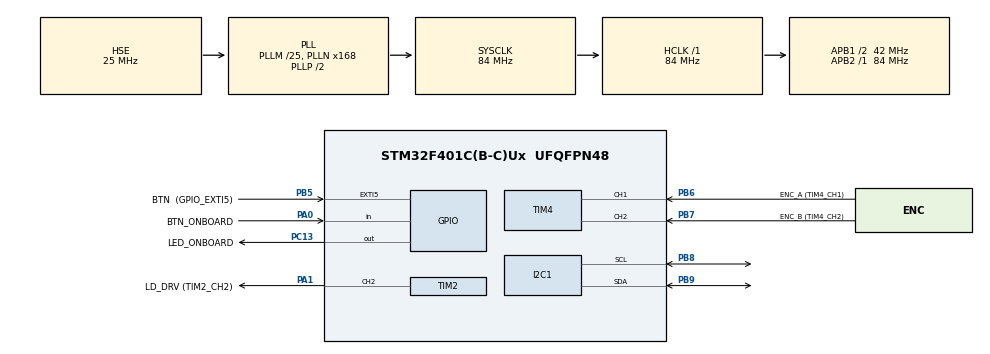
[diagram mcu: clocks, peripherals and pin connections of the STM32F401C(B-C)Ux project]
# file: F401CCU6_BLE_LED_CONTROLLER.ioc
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Dma.Request0=TIM2_CH2/CH4
Dma.TIM2_CH2/CH4.0.Direction=DMA_MEMORY_TO_PERIPH
Dma.TIM2_CH2/CH4.0.FIFOMode=DMA_FIFOMODE_DISABLE
Dma.TIM2_CH2/CH4.0.Instance=DMA1_Stream6
Dma.TIM2_CH2/CH4.0.MemDataAlignment=DMA_MDATAALIGN_WORD
Dma.TIM2_CH2/CH4.0.MemInc=DMA_MINC_ENABLE
Dma.TIM2_CH2/CH4.0.Mode=DMA_CIRCULAR
Dma.TIM2_CH2/CH4.0.PeriphDataAlignment=DMA_PDATAALIGN_WORD
Dma.TIM2_CH2/CH4.0.PeriphInc=DMA_PINC_DISABLE
Dma.TIM2_CH2/CH4.0.Priority=DMA_PRIORITY_LOW
FREERTOS.Tasks01=defaultTask,24,128,StartDefaultTask,Default,NULL,Dynamic,NULL,NULL
FREERTOS.configUSE_NEWLIB_REENTRANT=1
Mcu.Family=STM32F4
Mcu.Name=STM32F401C(B-C)Ux
Mcu.Package=UFQFPN48
NVIC.DMA1_Stream6_IRQn=true\:5\:0\:false\:false\:true\:true\:false\:true\:true
NVIC.EXTI9_5_IRQn=true\:5\:0\:false\:false\:true\:true\:true\:true\:true
NVIC.PriorityGroup=NVIC_PRIORITYGROUP_4
NVIC.TIM1_TRG_COM_TIM11_IRQn=true\:5\:0\:false\:false\:true\:true\:true\:true\:true
NVIC.TIM1_UP_TIM10_IRQn=true\:5\:0\:false\:false\:true\:false\:false\:true\:true
NVIC.TIM4_IRQn=true\:5\:0\:false\:false\:true\:true\:true\:true\:true
NVIC.TimeBase=TIM1_UP_TIM10_IRQn
NVIC.TimeBaseIP=TIM10
PA0-WKUP.GPIO_Label=BTN_ONBOARD
PA0-WKUP.Signal=GPIO_Input
PA1.GPIO_Label=LD_DRV (TIM2_CH2)
PA1.GPIO_ModeDefaultPP=GPIO_MODE_AF_OD
PA1.GPIO_Speed=GPIO_SPEED_FREQ_VERY_HIGH
PA1.Signal=S_TIM2_CH2
PA13.Mode=Serial_Wire
PA13.Signal=SYS_JTMS-SWDIO
PA14.Mode=Serial_Wire
PA14.Signal=SYS_JTCK-SWCLK
PB5.GPIO_Label=BTN  (GPIO_EXTI5)
PB5.GPIO_ModeDefaultEXTI=GPIO_MODE_IT_FALLING
PB5.GPIO_PuPd=GPIO_PULLUP
PB5.Signal=GPXTI5
PB6.GPIO_Label=ENC_A (TIM4_CH1)
PB6.Signal=S_TIM4_CH1
PB7.GPIO_Label=ENC_B (TIM4_CH2)
PB7.Signal=S_TIM4_CH2
PB8.GPIO_Pu=GPIO_PULLUP
PB8.Mode=I2C
PB8.Signal=I2C1_SCL
PB9.GPIO_Pu=GPIO_PULLUP
PB9.Mode=I2C
PB9.Signal=I2C1_SDA
PC13-ANTI_TAMP.GPIO_Label=LED_ONBOARD
PC13-ANTI_TAMP.Signal=GPIO_Output
PC14-OSC32_IN.Mode=LSE-External-Oscillator
PC14-OSC32_IN.Signal=RCC_OSC32_IN
PC15-OSC32_OUT.Mode=LSE-External-Oscillator
PC15-OSC32_OUT.Signal=RCC_OSC32_OUT
PH0\ -\ OSC_IN.Mode=HSE-External-Oscillator
PH0\ -\ OSC_IN.Signal=RCC_OSC_IN
PH1\ -\ OSC_OUT.Mode=HSE-External-Oscillator
PH1\ -\ OSC_OUT.Signal=RCC_OSC_OUT
ProjectManager.HeapSize=0x200
ProjectManager.StackSize=0x400
ProjectManager.TargetToolchain=STM32CubeIDE
RCC.48MHZClocksFreq_Value=42000000
RCC.AHBFreq_Value=84000000
RCC.APB1CLKDivider=RCC_HCLK_DIV2
RCC.APB1Freq_Value=42000000
RCC.APB1TimFreq_Value=84000000
RCC.APB2Freq_Value=84000000
RCC.APB2TimFreq_Value=84000000
RCC.CortexFreq_Value=84000000
RCC.HCLKFreq_Value=84000000
RCC.HSE_VALUE=25000000
RCC.HSI_VALUE=16000000
RCC.PLLM=25
RCC.PLLN=168
RCC.PLLSourceVirtual=RCC_PLLSOURCE_HSE
RCC.SYSCLKFreq_VALUE=84000000
RCC.SYSCLKSource=RCC_SYSCLKSOURCE_PLLCLK
RCC.VCOOutputFreq_Value=168000000
SH.S_TIM2_CH2.0=TIM2_CH2,PWM Generation2 CH2
SH.S_TIM4_CH1.0=TIM4_CH1,Encoder_Interface
SH.S_TIM4_CH2.0=TIM4_CH2,Encoder_Interface
TIM11.ClockDivision=TIM_CLOCKDIVISION_DIV2
TIM11.Period=1000
TIM11.Prescaler=42000-1
TIM2.Channel-PWM\ Generation2\ CH2=TIM_CHANNEL_2
TIM4.ClockDivision=TIM_CLOCKDIVISION_DIV4
TIM4.EncoderMode=TIM_ENCODERMODE_TI12
TIM4.IC1Filter=15
TIM4.IC2Filter=15
VP_FREERTOS_VS_CMSIS_V2.Mode=CMSIS_V2
VP_SYS_VS_tim10.Mode=TIM10
VP_TIM11_VS_ClockSourceINT.Mode=Enable_Timer
VP_TIM2_VS_ClockSourceINT.Mode=Internal
board=custom

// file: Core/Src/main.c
/* USER CODE BEGIN Header */
/**
  ******************************************************************************
  * @file           : main.c
  * @brief          : Main program body
  ******************************************************************************
  * @attention
  *
  * Copyright (c) 2024 STMicroelectronics.
  * All rights reserved.
  *
  * This software is licensed under terms that can be found in the LICENSE file
  * in the root directory of this software component.
  * If no LICENSE file comes with this software, it is provided AS-IS.
  *
  ******************************************************************************
  */
/* USER CODE END Header */
#include "main.h"
#include "cmsis_os.h"
#include "dma.h"
#include "i2c.h"
#include "tim.h"
#include "gpio.h"

/* USER CODE BEGIN Includes */
#include "ssd1306.h"

/* USER CODE END Includes */

void SystemClock_Config(void);
void MX_FREERTOS_Init(void);

int main(void)
{

  /* MCU Configuration--------------------------------------------------------*/

  /* Reset of all peripherals, Initializes the Flash interface and the Systick. */
  HAL_Init();

  /* Configure the system clock */
  SystemClock_Config();

  /* Initialize all configured peripherals */
  MX_GPIO_Init();
  MX_DMA_Init();
  MX_TIM2_Init();
  MX_I2C1_Init();
  MX_TIM4_Init();
  MX_TIM11_Init();
  /* USER CODE BEGIN 2 */

  /* This ssd1306 lib uses HAL_delay in Init */
  ssd1306_Init();
  ssd1306_Fill(Black);
  ssd1306_UpdateScreen();
  HAL_Delay(250);
  ssd1306_Fill(White);
  ssd1306_UpdateScreen();

  /* USER CODE END 2 */

  /* Init scheduler */
  osKernelInitialize();

  /* Call init function for freertos objects (in freertos.c) */
  MX_FREERTOS_Init();

  /* Start scheduler */
  osKernelStart();

  /* We should never get here as control is now taken by the scheduler */
  /* Infinite loop */
  while (1)
  {

  }
}

void SystemClock_Config(void)
{
  RCC_OscInitTypeDef RCC_OscInitStruct = {0};
  RCC_ClkInitTypeDef RCC_ClkInitStruct = {0};

  /** Configure the main internal regulator output voltage
  */
  __HAL_RCC_PWR_CLK_ENABLE();
  __HAL_PWR_VOLTAGESCALING_CONFIG(PWR_REGULATOR_VOLTAGE_SCALE2);

  /** Initializes the RCC Oscillators according to the specified parameters
  * in the RCC_OscInitTypeDef structure.
  */
  RCC_OscInitStruct.OscillatorType = RCC_OSCILLATORTYPE_HSE;
  RCC_OscInitStruct.HSEState = RCC_HSE_ON;
  RCC_OscInitStruct.PLL.PLLState = RCC_PLL_ON;
  RCC_OscInitStruct.PLL.PLLSource = RCC_PLLSOURCE_HSE;
  RCC_OscInitStruct.PLL.PLLM = 25;
  RCC_OscInitStruct.PLL.PLLN = 168;
  RCC_OscInitStruct.PLL.PLLP = RCC_PLLP_DIV2;
  RCC_OscInitStruct.PLL.PLLQ = 4;
  if (HAL_RCC_OscConfig(&RCC_OscInitStruct) != HAL_OK)
  {
    Error_Handler();
  }

  /** Initializes the CPU, AHB and APB buses clocks
  */
  RCC_ClkInitStruct.ClockType = RCC_CLOCKTYPE_HCLK|RCC_CLOCKTYPE_SYSCLK
                              |RCC_CLOCKTYPE_PCLK1|RCC_CLOCKTYPE_PCLK2;
  RCC_ClkInitStruct.SYSCLKSource = RCC_SYSCLKSOURCE_PLLCLK;
  RCC_ClkInitStruct.AHBCLKDivider = RCC_SYSCLK_DIV1;
  RCC_ClkInitStruct.APB1CLKDivider = RCC_HCLK_DIV2;
  RCC_ClkInitStruct.APB2CLKDivider = RCC_HCLK_DIV1;

  if (HAL_RCC_ClockConfig(&RCC_ClkInitStruct, FLASH_LATENCY_2) != HAL_OK)
  {
    Error_Handler();
  }
}

/* USER CODE BEGIN 4 */
__weak void my_TIM_PeriodElapsedCallback(TIM_HandleTypeDef *htim)
{
	UNUSED(htim);
}
/* USER CODE END 4 */

void HAL_TIM_PeriodElapsedCallback(TIM_HandleTypeDef *htim)
{
  if (htim->Instance == TIM10) {
    HAL_IncTick();
  }
  /* USER CODE BEGIN Callback 1 */
  my_TIM_PeriodElapsedCallback(htim);
  /* USER CODE END Callback 1 */
}

void Error_Handler(void)
{
  __disable_irq();
  while (1)
  {
  }
}

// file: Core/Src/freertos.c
/* USER CODE BEGIN Header */
/**
  ******************************************************************************
  * File Name          : freertos.c
  * Description        : Code for freertos applications
  ******************************************************************************
  * @attention
  *
  * Copyright (c) 2024 STMicroelectronics.
  * All rights reserved.
  *
  * This software is licensed under terms that can be found in the LICENSE file
  * in the root directory of this software component.
  * If no LICENSE file comes with this software, it is provided AS-IS.
  *
  ******************************************************************************
  */
/* USER CODE END Header */

#include "FreeRTOS.h"
#include "task.h"
#include "main.h"
#include "cmsis_os.h"

/* USER CODE BEGIN Variables */

osMutexId_t mutexI2C1Handle;
const osMutexAttr_t mutexI2C1_attributes = {
		.name = "I2C1 Mutex",
		.attr_bits = 0,
		.cb_mem = NULL,
		.cb_size = 0,
};

osThreadId_t measureTaskHandle;
const osThreadAttr_t measureTask_attributes = {
		.name = "measureTask",
		.stack_size = 128 * 4,
		.priority = (osPriority_t) osPriorityNormal,
};

osThreadId_t lcdTaskHandle;
const osThreadAttr_t lcdTask_attributes = {
		.name = "lcdTask",
		.stack_size = 128 * 8,
		.priority = (osPriority_t) osPriorityNormal,
};

osThreadId_t ledTaskHandle;
const osThreadAttr_t ledTask_attributes = {
		.name = "ledTask",
		.stack_size = 128 * 4,
		.priority = (osPriority_t) osPriorityNormal,
};

/* USER CODE END Variables */
/* Definitions for defaultTask */
osThreadId_t defaultTaskHandle;
const osThreadAttr_t defaultTask_attributes = {
  .name = "defaultTask",
  .stack_size = 128 * 4,
  .priority = (osPriority_t) osPriorityNormal,
};

/* USER CODE BEGIN FunctionPrototypes */
extern void StartLedTask(void *argument);
extern void StartLCDTask(void *argument);
extern void StartMeasureTask(void *argument);

/* USER CODE END FunctionPrototypes */

void StartDefaultTask(void *argument);

void MX_FREERTOS_Init(void); /* (MISRA C 2004 rule 8.1) */

void MX_FREERTOS_Init(void) {

  /* USER CODE BEGIN RTOS_MUTEX */
  /* add mutexes, ... */
	mutexI2C1Handle = osMutexNew(&mutexI2C1_attributes);
  /* USER CODE END RTOS_MUTEX */

  /* Create the thread(s) */
  /* creation of defaultTask */
  defaultTaskHandle = osThreadNew(StartDefaultTask, NULL, &defaultTask_attributes);

  /* USER CODE BEGIN RTOS_THREADS */
  /* add threads, ... */
  ledTaskHandle = osThreadNew(StartLedTask, NULL, &ledTask_attributes);
  lcdTaskHandle = osThreadNew(StartLCDTask, NULL, &lcdTask_attributes);
  measureTaskHandle = osThreadNew(StartMeasureTask, NULL, &measureTask_attributes);

  /* USER CODE END RTOS_THREADS */

}

/* USER CODE BEGIN Header_StartDefaultTask */
#include <ARGB.h>
/**
  * @brief  Function implementing the defaultTask thread.
  * @param  argument: Not used
  * @retval None
  */
/* USER CODE END Header_StartDefaultTask */
void StartDefaultTask(void *argument)
{
  /* USER CODE BEGIN StartDefaultTask */
	ARGB_Init();
	ARGB_Clear();
	while (ARGB_Show() == ARGB_OK);

  /* Infinite loop */
  for(;;)
  {
//	ARGB_FillRGB(0, 0, 0);
//    while (ARGB_Ready() == ARGB_BUSY); // Update - Option 4
//    ARGB_Show();
//    osDelay(1000);
//
//    ARGB_FillRGB(255, 0, 0);
//    while (ARGB_Ready() == ARGB_BUSY); // Update - Option 4
//    ARGB_Show();
//	osDelay(1000);
//
//    ARGB_FillRGB(0, 255, 0);
//    while (ARGB_Ready() == ARGB_BUSY); // Update - Option 4
//    ARGB_Show();
//	osDelay(1000);
//
//    ARGB_FillRGB(0, 0, 255);
//    while (ARGB_Ready() == ARGB_BUSY); // Update - Option 4
//    ARGB_Show();
//	osDelay(1000);
	  osDelay(1);
  }
  /* USER CODE END StartDefaultTask */
}
